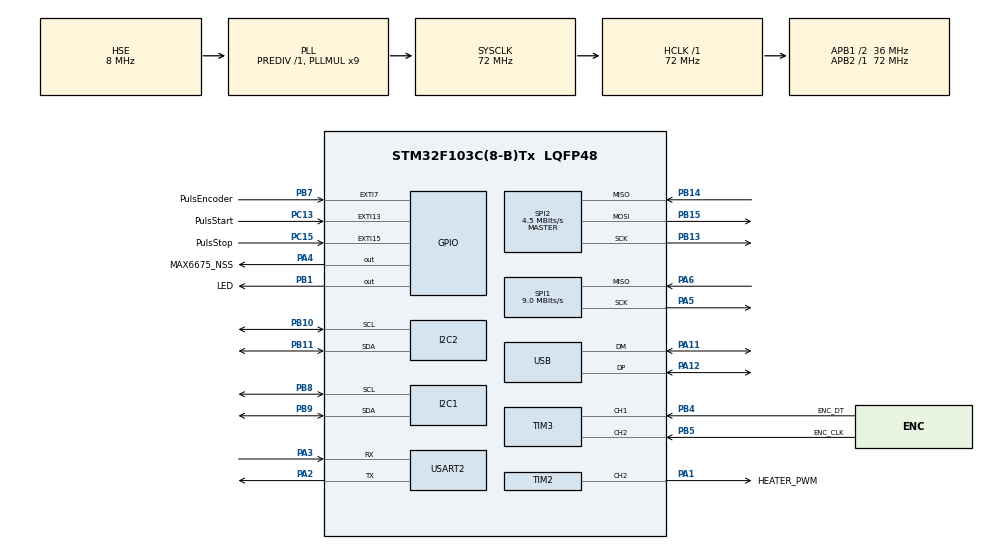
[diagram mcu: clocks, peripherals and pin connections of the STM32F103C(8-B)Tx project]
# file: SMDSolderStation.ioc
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Mcu.Family=STM32F1
PA6.Mode=RX_Only_Simplex_Unidirect_Master
USB_DEVICE.CLASS_NAME_FS=CDC
NVIC.I2C1_EV_IRQn=true\:5\:0\:false\:false\:true\:true\:true\:true
SPI1.VirtualType=VM_MASTER
Dma.I2C2_TX.0.Priority=DMA_PRIORITY_LOW
SPI2.VirtualType=VM_MASTER
PB10.Mode=I2C
TIM3.EncoderMode=TIM_ENCODERMODE_TI12
PA11.Mode=Device
NVIC.TIM1_UP_IRQn=true\:0\:0\:false\:false\:true\:false\:false\:true
TIM2.Channel-PWM\ Generation2\ CH2=TIM_CHANNEL_2
PB7.GPIO_ModeDefaultEXTI=GPIO_MODE_IT_RISING_FALLING
PB11.Signal=I2C2_SDA
PB13.Signal=SPI2_SCK
PB15.Signal=SPI2_MOSI
PC15-OSC32_OUT.GPIO_Label=PulsStop
RCC.SYSCLKSource=RCC_SYSCLKSOURCE_PLLCLK
ProjectManager.StackSize=0x8000
PD1-OSC_OUT.Signal=RCC_OSC_OUT
PA12.Signal=USB_DP
SPI1.Direction=SPI_DIRECTION_2LINES_RXONLY
RCC.HCLKFreq_Value=72000000
RCC.APB2TimFreq_Value=72000000
Dma.I2C2_TX.0.MemDataAlignment=DMA_MDATAALIGN_BYTE
SPI1.CalculateBaudRate=9.0 MBits/s
FREERTOS.configMINIMAL_STACK_SIZE=64
RCC.AHBFreq_Value=72000000
SPI2.BaudRatePrescaler=SPI_BAUDRATEPRESCALER_8
NVIC.EXTI15_10_IRQn=true\:5\:0\:false\:false\:true\:true\:true\:true
FREERTOS.configUSE_TIMERS=1
PB3.Mode=Trace_Asynchronous_SW
RCC.PLLMUL=RCC_PLL_MUL9
PC15-OSC32_OUT.GPIO_ModeDefaultEXTI=GPIO_MODE_IT_FALLING
PA14.Mode=Trace_Asynchronous_SW
PB14.Mode=Full_Duplex_Master
VP_SYS_VS_tim1.Mode=TIM1
PB1.GPIO_Label=LED
NVIC.TIM2_IRQn=true\:5\:0\:false\:false\:true\:true\:true\:true
SPI1.DataSize=SPI_DATASIZE_16BIT
SPI2.CalculateBaudRate=4.5 MBits/s
PB7.Signal=GPXTI7
NVIC.SPI2_IRQn=true\:5\:0\:false\:false\:true\:true\:true\:true
SH.S_TIM3_CH1.0=TIM3_CH1,Encoder_Interface
TIM4.Period=18000-1
VP_FREERTOS_VS_CMSIS_V1.Mode=CMSIS_V1
NVIC.I2C1_ER_IRQn=true\:5\:0\:false\:false\:true\:true\:true\:true
PB7.GPIO_Label=PulsEncoder
Mcu.Package=LQFP48
PB9.Signal=I2C1_SDA
PB1.Signal=GPIO_Output
PA6.Signal=SPI1_MISO
NVIC.TimeBase=TIM1_UP_IRQn
SPI2.Mode=SPI_MODE_MASTER
USART2.VirtualMode=VM_ASYNC
PC13-TAMPER-RTC.GPIO_PuPd=GPIO_PULLUP
NVIC.TimeBaseIP=TIM1
Dma.I2C2_TX.0.Direction=DMA_MEMORY_TO_PERIPH
TIM2.Pulse-PWM\ Generation2\ CH2=0
PB5.GPIO_Label=ENC_CLK
RCC.APB1TimFreq_Value=72000000
SPI2.Direction=SPI_DIRECTION_2LINES
PB13.Mode=Full_Duplex_Master
NVIC.DMA1_Channel4_IRQn=true\:5\:0\:false\:false\:true\:true\:false\:true
Dma.Request0=I2C2_TX
SPI1.BaudRatePrescaler=SPI_BAUDRATEPRESCALER_8
I2C2.I2C_Mode=I2C_Fast
PA4.GPIO_Label=MAX6675_NSS
PB4.Signal=S_TIM3_CH1
PA3.Signal=USART2_RX
PA5.Mode=RX_Only_Simplex_Unidirect_Master
PB7.GPIO_PuPd=GPIO_PULLUP
RCC.PLLSourceVirtual=RCC_PLLSOURCE_HSE
TIM4.AutoReloadPreload=TIM_AUTORELOAD_PRELOAD_ENABLE
Dma.I2C2_TX.0.Mode=DMA_NORMAL
FREERTOS.Tasks01=MainTask,0,256,StartMainTask,Default,NULL,Dynamic,NULL,NULL;GraphicTask,-2,256,StartGraphicTask,Default,NULL,Dynamic,NULL,NULL
PD1-OSC_OUT.Mode=HSE-External-Oscillator
TIM3.AutoReloadPreload=TIM_AUTORELOAD_PRELOAD_ENABLE
USB_DEVICE.VirtualModeFS=Cdc_FS
PC13-TAMPER-RTC.Signal=GPXTI13
RCC.USBPrescaler=RCC_USBCLKSOURCE_PLL_DIV1_5
PD0-OSC_IN.Signal=RCC_OSC_IN
Dma.I2C2_TX.0.PeriphInc=DMA_PINC_DISABLE
RCC.APB1CLKDivider=RCC_HCLK_DIV2
PA13.Signal=SYS_JTMS-SWDIO
PA3.Mode=Asynchronous
SH.S_TIM2_CH2.0=TIM2_CH2,PWM Generation2 CH2
PB11.Mode=I2C
ProjectManager.TargetToolchain=STM32CubeIDE
TIM3.IC2Filter=10
I2C1.I2C_Mode=I2C_Fast
VP_USB_DEVICE_VS_USB_DEVICE_CDC_FS.Mode=CDC_FS
PB9.Mode=I2C
RCC.USBFreq_Value=48000000
TIM4.Prescaler=1000-1
PC15-OSC32_OUT.Signal=GPXTI15
PA1.Signal=S_TIM2_CH2
PD0-OSC_IN.Mode=HSE-External-Oscillator
PB10.Signal=I2C2_SCL
PB14.Signal=SPI2_MISO
PA5.Signal=SPI1_SCK
SH.S_TIM3_CH2.0=TIM3_CH2,Encoder_Interface
TIM3.IC1Filter=10
board=custom
PC13-TAMPER-RTC.GPIO_ModeDefaultEXTI=GPIO_MODE_IT_FALLING
PC13-TAMPER-RTC.GPIO_Label=PulsStart
PB15.Mode=Full_Duplex_Master
NVIC.SPI1_IRQn=true\:5\:0\:false\:false\:true\:true\:true\:true
RCC.APB2Freq_Value=72000000
PB4.GPIO_Label=ENC_DT
VP_TIM2_VS_ClockSourceINT.Mode=Internal
SPI1.Mode=SPI_MODE_MASTER
Dma.I2C2_TX.0.Instance=DMA1_Channel4
NVIC.USB_LP_CAN1_RX0_IRQn=true\:5\:0\:false\:false\:true\:true\:false\:true
PA1.GPIO_Label=HEATER_PWM
PC15-OSC32_OUT.GPIO_PuPd=GPIO_PULLUP
FREERTOS.configUSE_MUTEXES=0
TIM2.Period=1024-1
PA13.Mode=Trace_Asynchronous_SW
Mcu.Name=STM32F103C(8-B)Tx
PA2.Signal=USART2_TX
PB3.Signal=SYS_JTDO-TRACESWO
PA4.Signal=GPIO_Output
RCC.SYSCLKFreq_VALUE=72000000
PB5.Signal=S_TIM3_CH2
PA12.Mode=Device
TIM2.OC2Preload_PWM=ENABLE
PA11.Signal=USB_DM
NVIC.EXTI9_5_IRQn=true\:5\:0\:false\:false\:true\:true\:true\:true
PA14.Signal=SYS_JTCK-SWCLK
ProjectManager.HeapSize=0x200
FREERTOS.Timers01=ReadTempTimer,ReadTempTimerCallback,osTimerPeriodic,Default,NULL,Dynamic,NULL;BlinkTimer,BlinkTimerCallback,osTimerPeriodic,As external,NULL,Dynamic,NULL;PulsEncoderTimer,PulsEncoderTimerCallback,osTimerOnce,Default,NULL,Dynamic,NULL
NVIC.I2C2_EV_IRQn=true\:5\:0\:false\:false\:true\:true\:true\:true
VP_TIM4_VS_ClockSourceINT.Mode=Internal
NVIC.PriorityGroup=NVIC_PRIORITYGROUP_4
PB8.Mode=I2C
Dma.I2C2_TX.0.PeriphDataAlignment=DMA_PDATAALIGN_BYTE
PA2.Mode=Asynchronous
PB8.Signal=I2C1_SCL
TIM2.AutoReloadPreload=TIM_AUTORELOAD_PRELOAD_ENABLE
TIM2.OCFastMode_PWM-PWM\ Generation2\ CH2=TIM_OCFAST_DISABLE
SPI2.DataSize=SPI_DATASIZE_16BIT
Dma.I2C2_TX.0.MemInc=DMA_MINC_ENABLE
NVIC.TIM4_IRQn=true\:5\:0\:false\:false\:true\:true\:true\:true
RCC.APB1Freq_Value=36000000
USB_DEVICE.VirtualMode=Cdc

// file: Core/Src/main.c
/* USER CODE BEGIN Header */
/**
  ******************************************************************************
  * @file           : main.c
  * @brief          : Main program body
  ******************************************************************************
  * @attention
  *
  * <h2><center>&copy; Copyright (c) 2021 STMicroelectronics.
  * All rights reserved.</center></h2>
  *
  * This software component is licensed by ST under Ultimate Liberty license
  * SLA0044, the "License"; You may not use this file except in compliance with
  * the License. You may obtain a copy of the License at:
  *                             www.st.com/SLA0044
  *
  ******************************************************************************
  */
/* USER CODE END Header */
#include "main.h"
#include "cmsis_os.h"
#include "usb_device.h"

/* USER CODE BEGIN Includes */
#include "usbd_cdc_if.h"
#include "stdio.h"
#include "MAX6675.h"
#include "u8g2/u8g2.h"
#include "grafica.h"
#include "stm32_pid.h"
/* USER CODE END Includes */

/* USER CODE BEGIN PD */
#define I2C_ADDRESS 0x3C
#define MAXPWMOUTPUT 1024
#define bitmap_width 64
#define bitmap_height 16
extern uint8_t u8x8_byte_stm32_hw_i2c(u8x8_t *u8x8, uint8_t msg, uint8_t arg_int, void *arg_ptr);
extern uint8_t psoc_gpio_and_delay_cb(u8x8_t *u8x8, uint8_t msg, uint8_t arg_int, void *arg_ptr);
extern u8g2_t u8g2;

/* USER CODE END PD */

I2C_HandleTypeDef hi2c1;
I2C_HandleTypeDef hi2c2;
DMA_HandleTypeDef hdma_i2c2_tx;

SPI_HandleTypeDef hspi1;
SPI_HandleTypeDef hspi2;

TIM_HandleTypeDef htim2;
TIM_HandleTypeDef htim3;
TIM_HandleTypeDef htim4;

UART_HandleTypeDef huart2;

osThreadId MainTaskHandle;
osThreadId GraphicTaskHandle;
osTimerId ReadTempTimerHandle;
osTimerId BlinkTimerHandle;
osTimerId PulsEncoderTimerHandle;
/* USER CODE BEGIN PV */
uint8_t updateVisu;
int32_t tempEncCount = -1;
uint8_t tempHeigth = 0;
float tempActTemperature = -1;
LPFilter TempFilter;
float FilteredTemperature;
PID TempPID;
VisualInterface GraphicVar;
PID_AutoTune TempAutoTuneVar;
char logBuf[128];
_Bool EnablePWMOut;
_Bool StartTuning;
/* USER CODE END PV */

void SystemClock_Config(void);
static void MX_GPIO_Init(void);
static void MX_DMA_Init(void);
static void MX_SPI1_Init(void);
static void MX_I2C1_Init(void);
static void MX_USART2_UART_Init(void);
static void MX_TIM2_Init(void);
static void MX_I2C2_Init(void);
static void MX_TIM3_Init(void);
static void MX_SPI2_Init(void);
static void MX_TIM4_Init(void);
void StartMainTask(void const * argument);
void StartGraphicTask(void const * argument);
void ReadTempTimerCallback(void const * argument);
extern void BlinkTimerCallback(void const * argument);
void PulsEncoderTimerCallback(void const * argument);

/* USER CODE BEGIN 0 */
int _write(int file, char *ptr, int len)
{
  /* Implement your write code here, this is used by puts and printf for example */
  int i=0;
  for(i=0 ; i<len ; i++)
    ITM_SendChar((*ptr++));
  return len;
}
/* USER CODE END 0 */

int main(void)
{

  /* MCU Configuration--------------------------------------------------------*/

  /* Reset of all peripherals, Initializes the Flash interface and the Systick. */
  HAL_Init();

  /* Configure the system clock */
  SystemClock_Config();

  /* Initialize all configured peripherals */
  MX_GPIO_Init();
  MX_DMA_Init();
  MX_SPI1_Init();
  MX_I2C1_Init();
  MX_USART2_UART_Init();
  MX_TIM2_Init();
  MX_I2C2_Init();
  MX_TIM3_Init();
  MX_SPI2_Init();
  MX_TIM4_Init();
  /* USER CODE BEGIN 2 */

  //*********************************
  //******** TIMER STARTING *********
  //*********************************
  HAL_TIM_Base_Start(&htim2);
  HAL_TIM_PWM_Start(&htim2, TIM_CHANNEL_2);
  HAL_TIM_Encoder_Start(&htim3, TIM_CHANNEL_ALL);
  HAL_TIM_Base_Start_IT(&htim4);
  __HAL_TIM_SET_COUNTER(&htim3, STARTTEMPERATURE);

  //*********************************
  //**** DISPLAY INITIALIZATION *****
  //*********************************
  u8g2_Setup_ssd1306_i2c_128x64_noname_f(&u8g2,
 	  U8G2_R0,
 	  u8x8_byte_stm32_hw_i2c,
 	  psoc_gpio_and_delay_cb);
  u8g2_InitDisplay(&u8g2);
  u8g2_SetPowerSave(&u8g2, 0);
  u8g2_ClearDisplay(&u8g2);
  u8g2_SetFont(&u8g2, u8g2_font_helvR14_tf);
  u8g2_SetFontPosTop(&u8g2);

  //*********************************
  //***** PID INITIALIZATION ********
  //*********************************
  LPFilterInit(&TempFilter);
  PIDInit(&TempPID, TEMPERATURE_SAMPLE_TIME, MAXPWMOUTPUT, 0, 180, 8, 956, MAXPWMOUTPUT/2, -(MAXPWMOUTPUT/2), DERIVATIVE_TIME_CONSTANT);
  PIDNewSetpoint(&TempPID, STARTTEMPERATURE);
  PID_AutoTuneInit(&TempAutoTuneVar, STARTTEMPERATURE, 0.5, TEMPERATURE_SAMPLE_TIME, 20, 0, 1024);

  /* USER CODE END 2 */

  /* Create the timer(s) */
  /* definition and creation of ReadTempTimer */
  osTimerDef(ReadTempTimer, ReadTempTimerCallback);
  ReadTempTimerHandle = osTimerCreate(osTimer(ReadTempTimer), osTimerPeriodic, NULL);

  /* definition and creation of BlinkTimer */
  osTimerDef(BlinkTimer, BlinkTimerCallback);
  BlinkTimerHandle = osTimerCreate(osTimer(BlinkTimer), osTimerPeriodic, NULL);

  /* definition and creation of PulsEncoderTimer */
  osTimerDef(PulsEncoderTimer, PulsEncoderTimerCallback);
  PulsEncoderTimerHandle = osTimerCreate(osTimer(PulsEncoderTimer), osTimerOnce, NULL);

  /* USER CODE BEGIN RTOS_TIMERS */
  /* start timers, add new ones, ... */
  osTimerStart(ReadTempTimerHandle, MAX6675_READ_DELAY_MS/portTICK_PERIOD_MS);
  osTimerStart(BlinkTimerHandle, BLINK_DELAY_MS/portTICK_PERIOD_MS);

  /* USER CODE END RTOS_TIMERS */

  /* Create the thread(s) */
  /* definition and creation of MainTask */
  osThreadDef(MainTask, StartMainTask, osPriorityNormal, 0, 256);
  MainTaskHandle = osThreadCreate(osThread(MainTask), NULL);

  /* definition and creation of GraphicTask */
  osThreadDef(GraphicTask, StartGraphicTask, osPriorityLow, 0, 256);
  GraphicTaskHandle = osThreadCreate(osThread(GraphicTask), NULL);

  /* Start scheduler */
  osKernelStart();

  /* We should never get here as control is now taken by the scheduler */
  /* Infinite loop */
  while (1)
  {

  }
}

void SystemClock_Config(void)
{
  RCC_OscInitTypeDef RCC_OscInitStruct = {0};
  RCC_ClkInitTypeDef RCC_ClkInitStruct = {0};
  RCC_PeriphCLKInitTypeDef PeriphClkInit = {0};

  /** Initializes the RCC Oscillators according to the specified parameters
  * in the RCC_OscInitTypeDef structure.
  */
  RCC_OscInitStruct.OscillatorType = RCC_OSCILLATORTYPE_HSE;
  RCC_OscInitStruct.HSEState = RCC_HSE_ON;
  RCC_OscInitStruct.HSEPredivValue = RCC_HSE_PREDIV_DIV1;
  RCC_OscInitStruct.HSIState = RCC_HSI_ON;
  RCC_OscInitStruct.PLL.PLLState = RCC_PLL_ON;
  RCC_OscInitStruct.PLL.PLLSource = RCC_PLLSOURCE_HSE;
  RCC_OscInitStruct.PLL.PLLMUL = RCC_PLL_MUL9;
  if (HAL_RCC_OscConfig(&RCC_OscInitStruct) != HAL_OK)
  {
    Error_Handler();
  }
  /** Initializes the CPU, AHB and APB buses clocks
  */
  RCC_ClkInitStruct.ClockType = RCC_CLOCKTYPE_HCLK|RCC_CLOCKTYPE_SYSCLK
                              |RCC_CLOCKTYPE_PCLK1|RCC_CLOCKTYPE_PCLK2;
  RCC_ClkInitStruct.SYSCLKSource = RCC_SYSCLKSOURCE_PLLCLK;
  RCC_ClkInitStruct.AHBCLKDivider = RCC_SYSCLK_DIV1;
  RCC_ClkInitStruct.APB1CLKDivider = RCC_HCLK_DIV2;
  RCC_ClkInitStruct.APB2CLKDivider = RCC_HCLK_DIV1;

  if (HAL_RCC_ClockConfig(&RCC_ClkInitStruct, FLASH_LATENCY_2) != HAL_OK)
  {
    Error_Handler();
  }
  PeriphClkInit.PeriphClockSelection = RCC_PERIPHCLK_USB;
  PeriphClkInit.UsbClockSelection = RCC_USBCLKSOURCE_PLL_DIV1_5;
  if (HAL_RCCEx_PeriphCLKConfig(&PeriphClkInit) != HAL_OK)
  {
    Error_Handler();
  }
}

static void MX_I2C1_Init(void)
{

  hi2c1.Instance = I2C1;
  hi2c1.Init.ClockSpeed = 400000;
  hi2c1.Init.DutyCycle = I2C_DUTYCYCLE_2;
  hi2c1.Init.OwnAddress1 = 0;
  hi2c1.Init.AddressingMode = I2C_ADDRESSINGMODE_7BIT;
  hi2c1.Init.DualAddressMode = I2C_DUALADDRESS_DISABLE;
  hi2c1.Init.OwnAddress2 = 0;
  hi2c1.Init.GeneralCallMode = I2C_GENERALCALL_DISABLE;
  hi2c1.Init.NoStretchMode = I2C_NOSTRETCH_DISABLE;
  if (HAL_I2C_Init(&hi2c1) != HAL_OK)
  {
    Error_Handler();
  }

}

static void MX_I2C2_Init(void)
{

  hi2c2.Instance = I2C2;
  hi2c2.Init.ClockSpeed = 400000;
  hi2c2.Init.DutyCycle = I2C_DUTYCYCLE_2;
  hi2c2.Init.OwnAddress1 = 0;
  hi2c2.Init.AddressingMode = I2C_ADDRESSINGMODE_7BIT;
  hi2c2.Init.DualAddressMode = I2C_DUALADDRESS_DISABLE;
  hi2c2.Init.OwnAddress2 = 0;
  hi2c2.Init.GeneralCallMode = I2C_GENERALCALL_DISABLE;
  hi2c2.Init.NoStretchMode = I2C_NOSTRETCH_DISABLE;
  if (HAL_I2C_Init(&hi2c2) != HAL_OK)
  {
    Error_Handler();
  }

}

static void MX_SPI1_Init(void)
{

  /* SPI1 parameter configuration*/
  hspi1.Instance = SPI1;
  hspi1.Init.Mode = SPI_MODE_MASTER;
  hspi1.Init.Direction = SPI_DIRECTION_2LINES_RXONLY;
  hspi1.Init.DataSize = SPI_DATASIZE_16BIT;
  hspi1.Init.CLKPolarity = SPI_POLARITY_LOW;
  hspi1.Init.CLKPhase = SPI_PHASE_1EDGE;
  hspi1.Init.NSS = SPI_NSS_SOFT;
  hspi1.Init.BaudRatePrescaler = SPI_BAUDRATEPRESCALER_8;
  hspi1.Init.FirstBit = SPI_FIRSTBIT_MSB;
  hspi1.Init.TIMode = SPI_TIMODE_DISABLE;
  hspi1.Init.CRCCalculation = SPI_CRCCALCULATION_DISABLE;
  hspi1.Init.CRCPolynomial = 10;
  if (HAL_SPI_Init(&hspi1) != HAL_OK)
  {
    Error_Handler();
  }

}

static void MX_SPI2_Init(void)
{

  /* SPI2 parameter configuration*/
  hspi2.Instance = SPI2;
  hspi2.Init.Mode = SPI_MODE_MASTER;
  hspi2.Init.Direction = SPI_DIRECTION_2LINES;
  hspi2.Init.DataSize = SPI_DATASIZE_16BIT;
  hspi2.Init.CLKPolarity = SPI_POLARITY_LOW;
  hspi2.Init.CLKPhase = SPI_PHASE_1EDGE;
  hspi2.Init.NSS = SPI_NSS_SOFT;
  hspi2.Init.BaudRatePrescaler = SPI_BAUDRATEPRESCALER_8;
  hspi2.Init.FirstBit = SPI_FIRSTBIT_MSB;
  hspi2.Init.TIMode = SPI_TIMODE_DISABLE;
  hspi2.Init.CRCCalculation = SPI_CRCCALCULATION_DISABLE;
  hspi2.Init.CRCPolynomial = 10;
  if (HAL_SPI_Init(&hspi2) != HAL_OK)
  {
    Error_Handler();
  }

}

static void MX_TIM2_Init(void)
{

  TIM_ClockConfigTypeDef sClockSourceConfig = {0};
  TIM_MasterConfigTypeDef sMasterConfig = {0};
  TIM_OC_InitTypeDef sConfigOC = {0};

  htim2.Instance = TIM2;
  htim2.Init.Prescaler = 0;
  htim2.Init.CounterMode = TIM_COUNTERMODE_UP;
  htim2.Init.Period = 1024-1;
  htim2.Init.ClockDivision = TIM_CLOCKDIVISION_DIV1;
  htim2.Init.AutoReloadPreload = TIM_AUTORELOAD_PRELOAD_ENABLE;
  if (HAL_TIM_Base_Init(&htim2) != HAL_OK)
  {
    Error_Handler();
  }
  sClockSourceConfig.ClockSource = TIM_CLOCKSOURCE_INTERNAL;
  if (HAL_TIM_ConfigClockSource(&htim2, &sClockSourceConfig) != HAL_OK)
  {
    Error_Handler();
  }
  if (HAL_TIM_PWM_Init(&htim2) != HAL_OK)
  {
    Error_Handler();
  }
  sMasterConfig.MasterOutputTrigger = TIM_TRGO_RESET;
  sMasterConfig.MasterSlaveMode = TIM_MASTERSLAVEMODE_DISABLE;
  if (HAL_TIMEx_MasterConfigSynchronization(&htim2, &sMasterConfig) != HAL_OK)
  {
    Error_Handler();
  }
  sConfigOC.OCMode = TIM_OCMODE_PWM1;
  sConfigOC.Pulse = 0;
  sConfigOC.OCPolarity = TIM_OCPOLARITY_HIGH;
  sConfigOC.OCFastMode = TIM_OCFAST_DISABLE;
  if (HAL_TIM_PWM_ConfigChannel(&htim2, &sConfigOC, TIM_CHANNEL_2) != HAL_OK)
  {
    Error_Handler();
  }
  HAL_TIM_MspPostInit(&htim2);

}

static void MX_TIM3_Init(void)
{

  TIM_Encoder_InitTypeDef sConfig = {0};
  TIM_MasterConfigTypeDef sMasterConfig = {0};

  htim3.Instance = TIM3;
  htim3.Init.Prescaler = 0;
  htim3.Init.CounterMode = TIM_COUNTERMODE_UP;
  htim3.Init.Period = 65535;
  htim3.Init.ClockDivision = TIM_CLOCKDIVISION_DIV1;
  htim3.Init.AutoReloadPreload = TIM_AUTORELOAD_PRELOAD_ENABLE;
  sConfig.EncoderMode = TIM_ENCODERMODE_TI12;
  sConfig.IC1Polarity = TIM_ICPOLARITY_RISING;
  sConfig.IC1Selection = TIM_ICSELECTION_DIRECTTI;
  sConfig.IC1Prescaler = TIM_ICPSC_DIV1;
  sConfig.IC1Filter = 10;
  sConfig.IC2Polarity = TIM_ICPOLARITY_RISING;
  sConfig.IC2Selection = TIM_ICSELECTION_DIRECTTI;
  sConfig.IC2Prescaler = TIM_ICPSC_DIV1;
  sConfig.IC2Filter = 10;
  if (HAL_TIM_Encoder_Init(&htim3, &sConfig) != HAL_OK)
  {
    Error_Handler();
  }
  sMasterConfig.MasterOutputTrigger = TIM_TRGO_RESET;
  sMasterConfig.MasterSlaveMode = TIM_MASTERSLAVEMODE_DISABLE;
  if (HAL_TIMEx_MasterConfigSynchronization(&htim3, &sMasterConfig) != HAL_OK)
  {
    Error_Handler();
  }

}

static void MX_TIM4_Init(void)
{

  TIM_ClockConfigTypeDef sClockSourceConfig = {0};
  TIM_MasterConfigTypeDef sMasterConfig = {0};

  htim4.Instance = TIM4;
  htim4.Init.Prescaler = 1000-1;
  htim4.Init.CounterMode = TIM_COUNTERMODE_UP;
  htim4.Init.Period = 18000-1;
  htim4.Init.ClockDivision = TIM_CLOCKDIVISION_DIV1;
  htim4.Init.AutoReloadPreload = TIM_AUTORELOAD_PRELOAD_ENABLE;
  if (HAL_TIM_Base_Init(&htim4) != HAL_OK)
  {
    Error_Handler();
  }
  sClockSourceConfig.ClockSource = TIM_CLOCKSOURCE_INTERNAL;
  if (HAL_TIM_ConfigClockSource(&htim4, &sClockSourceConfig) != HAL_OK)
  {
    Error_Handler();
  }
  sMasterConfig.MasterOutputTrigger = TIM_TRGO_RESET;
  sMasterConfig.MasterSlaveMode = TIM_MASTERSLAVEMODE_DISABLE;
  if (HAL_TIMEx_MasterConfigSynchronization(&htim4, &sMasterConfig) != HAL_OK)
  {
    Error_Handler();
  }

}

static void MX_USART2_UART_Init(void)
{

  huart2.Instance = USART2;
  huart2.Init.BaudRate = 115200;
  huart2.Init.WordLength = UART_WORDLENGTH_8B;
  huart2.Init.StopBits = UART_STOPBITS_1;
  huart2.Init.Parity = UART_PARITY_NONE;
  huart2.Init.Mode = UART_MODE_TX_RX;
  huart2.Init.HwFlowCtl = UART_HWCONTROL_NONE;
  huart2.Init.OverSampling = UART_OVERSAMPLING_16;
  if (HAL_UART_Init(&huart2) != HAL_OK)
  {
    Error_Handler();
  }

}

static void MX_DMA_Init(void)
{

  /* DMA controller clock enable */
  __HAL_RCC_DMA1_CLK_ENABLE();

  /* DMA interrupt init */
  /* DMA1_Channel4_IRQn interrupt configuration */
  HAL_NVIC_SetPriority(DMA1_Channel4_IRQn, 5, 0);
  HAL_NVIC_EnableIRQ(DMA1_Channel4_IRQn);

}

static void MX_GPIO_Init(void)
{
  GPIO_InitTypeDef GPIO_InitStruct = {0};

  /* GPIO Ports Clock Enable */
  __HAL_RCC_GPIOC_CLK_ENABLE();
  __HAL_RCC_GPIOD_CLK_ENABLE();
  __HAL_RCC_GPIOA_CLK_ENABLE();
  __HAL_RCC_GPIOB_CLK_ENABLE();

  /*Configure GPIO pin Output Level */
  HAL_GPIO_WritePin(MAX6675_NSS_GPIO_Port, MAX6675_NSS_Pin, GPIO_PIN_RESET);

  /*Configure GPIO pin Output Level */
  HAL_GPIO_WritePin(LED_GPIO_Port, LED_Pin, GPIO_PIN_RESET);

  /*Configure GPIO pins : PulsStart_Pin PulsStop_Pin */
  GPIO_InitStruct.Pin = PulsStart_Pin|PulsStop_Pin;
  GPIO_InitStruct.Mode = GPIO_MODE_IT_FALLING;
  GPIO_InitStruct.Pull = GPIO_PULLUP;
  HAL_GPIO_Init(GPIOC, &GPIO_InitStruct);

  /*Configure GPIO pin : MAX6675_NSS_Pin */
  GPIO_InitStruct.Pin = MAX6675_NSS_Pin;
  GPIO_InitStruct.Mode = GPIO_MODE_OUTPUT_PP;
  GPIO_InitStruct.Pull = GPIO_NOPULL;
  GPIO_InitStruct.Speed = GPIO_SPEED_FREQ_LOW;
  HAL_GPIO_Init(MAX6675_NSS_GPIO_Port, &GPIO_InitStruct);

  /*Configure GPIO pin : LED_Pin */
  GPIO_InitStruct.Pin = LED_Pin;
  GPIO_InitStruct.Mode = GPIO_MODE_OUTPUT_PP;
  GPIO_InitStruct.Pull = GPIO_NOPULL;
  GPIO_InitStruct.Speed = GPIO_SPEED_FREQ_LOW;
  HAL_GPIO_Init(LED_GPIO_Port, &GPIO_InitStruct);

  /*Configure GPIO pin : PulsEncoder_Pin */
  GPIO_InitStruct.Pin = PulsEncoder_Pin;
  GPIO_InitStruct.Mode = GPIO_MODE_IT_RISING_FALLING;
  GPIO_InitStruct.Pull = GPIO_PULLUP;
  HAL_GPIO_Init(PulsEncoder_GPIO_Port, &GPIO_InitStruct);

  /* EXTI interrupt init*/
  HAL_NVIC_SetPriority(EXTI9_5_IRQn, 5, 0);
  HAL_NVIC_EnableIRQ(EXTI9_5_IRQn);

  HAL_NVIC_SetPriority(EXTI15_10_IRQn, 5, 0);
  HAL_NVIC_EnableIRQ(EXTI15_10_IRQn);

}

/* USER CODE BEGIN 4 */
void HAL_GPIO_EXTI_Callback(uint16_t GPIO_Pin)
{
	if(GPIO_Pin == PulsStart_Pin)
	{
		if (GraphicVar._ActualPage == PageMain)
		{
			EnablePWMOut = true;
		}
		else if (GraphicVar._ActualPage == PageTuning)
		{
			StartTuning = true;
		}
	}
	else if (GPIO_Pin == PulsStop_Pin)
	{
		if (GraphicVar._ActualPage == PageMain)
		{
			EnablePWMOut = false;
		}
		else if (GraphicVar._ActualPage == PageTuning)
		{
			StartTuning = false;
		}
	}

	if(GPIO_Pin == PulsEncoder_Pin && HAL_GPIO_ReadPin(PulsEncoder_GPIO_Port, PulsEncoder_Pin) == GPIO_PIN_RESET)
	{
		GraphicVar._PulsEncoderPressed = true;
		GraphicVar._PulsEncoderReleased = false;
		osTimerStart(PulsEncoderTimerHandle, PULS_HOLDED_TIME_MS/portTICK_PERIOD_MS);
	}
	if(GPIO_Pin == PulsEncoder_Pin && HAL_GPIO_ReadPin(PulsEncoder_GPIO_Port, PulsEncoder_Pin) == GPIO_PIN_SET)
	{
		osTimerStop(PulsEncoderTimerHandle);
		GraphicVar._PulsEncoderPressed = false;
		GraphicVar._PulsEncoderReleased = true;
		GraphicVar._PulsEncoderHolded = false;
	}
}
/* USER CODE END 4 */

void StartMainTask(void const * argument)
{
  /* init code for USB_DEVICE */
  MX_USB_DEVICE_Init();
  /* USER CODE BEGIN 5 */
  /* Infinite loop */
  for(;;)
  {
	  if (GraphicVar._ActualPage == PageMain)
	  {
		  if (EnablePWMOut && TempFilter.FilterOK)
		  {
		  	  GraphicVar._ActualHeatState = Heating;
		  	  TIM2->CCR2 = PIDUpdate(&TempPID, FilteredTemperature);
		  }
		  else
		  {
		  	  GraphicVar._ActualHeatState = HeatOFF;
		  	  TIM2->CCR2 = 0;
		  }
		   sprintf((uint8_t *) logBuf, "PID_P: %.1f, PID_I: %.1f, PID_D: %.1f\r\n",
		   					  TempPID.PID_P, TempPID.PID_I, TempPID.PID_D);
		  CDC_Transmit_FS((uint8_t *) logBuf, strlen(logBuf));

		  osDelay(1000/PID_LOOP_FREQUENCY_HZ);
	  }
	  else if (GraphicVar._ActualPage == PageTuning)
	  {
		  if (StartTuning)
		  {
			  int8_t TuningStatus = PID_AutoTuneUpdate(&TempAutoTuneVar, &FilteredTemperature, &TIM2->CCR2);
			  if (TuningStatus == 1)
			  {
				  PID_AutoTuneCompute(&TempAutoTuneVar);
				  PID_AutoTuneGetCoeff(&TempAutoTuneVar, &TempPID);
				  PIDNewCoeff(&TempPID, TempAutoTuneVar.Kp_Tuned, TempAutoTuneVar.Ki_Tuned, TempAutoTuneVar.Kp_Tuned);
				  StartTuning = false;
			  }
		  }
		  else
		  {
			  PID_AutoTuneStop(&TempAutoTuneVar);
			  TIM2->CCR2 = 0;
		  }
		  osDelay(1);
	  }
  }
  /* USER CODE END 5 */
}

void StartGraphicTask(void const * argument)
{
  /* USER CODE BEGIN StartGraphicTask */
  /* Infinite loop */
  for(;;)
  {
	  // Lettura valore encoder rotativo
	  EncoderRead(&GraphicVar, &htim3);
	  printf("Signed encoder actual value: %d\r", GraphicVar.SignedEncActValue);

	  // Aggiornamento OLED
	  Graphic(&GraphicVar, &TempFilter, &TempPID, &TempAutoTuneVar);

	  osDelay(20);
  }
  /* USER CODE END StartGraphicTask */
}

/* ReadTempTimerCallback function */
void ReadTempTimerCallback(void const * argument)
{
  /* USER CODE BEGIN ReadTempTimerCallback */
	Max6675_Read_TempValue(&ActTemperature);
	FilteredTemperature = LPFilterUpdate(&TempFilter, ActTemperature);
	/*
	// Graph 1
	sprintf((uint8_t *) logBuf, "Setpoint: %.1f, Actual Temp: %.1f, Actual PWM: %d\r\n",
				  TempPID.Setpoint, FilteredTemperature, TIM2->CCR2);
	CDC_Transmit_FS((uint8_t *) logBuf, strlen(logBuf));
	*/
	/*
	// Graph 2
	sprintf((uint8_t *) logBuf, "PID_P: %.1f, PID_I: %.1f, PID_D: %.1f\r\n",
					  TempPID.PID_P, TempPID.PID_I, TempPID.PID_D);
	CDC_Transmit_FS((uint8_t *) logBuf, strlen(logBuf));
	*/
	/*
	// Graph 3
	sprintf((uint8_t *) logBuf, "Actual Temp: %.1f, Actual PWM: %d, PID_D: %.1f\r\n",
					  FilteredTemperature, TIM2->CCR2, TempPID.PID_D);
	CDC_Transmit_FS((uint8_t *) logBuf, strlen(logBuf));
	 */
  /* USER CODE END ReadTempTimerCallback */
}

/* PulsEncoderTimerCallback function */
void PulsEncoderTimerCallback(void const * argument)
{
  /* USER CODE BEGIN PulsEncoderTimerCallback */
	if (GraphicVar._ActualPage == PageMain)
	{
		GraphicVar._ActualPage = PageTuning;
	}
	else if (GraphicVar._ActualPage == PageTuning)
	{
		GraphicVar._ActualPage = PageMain;
	}

	GraphicVar._PulsEncoderHolded = true;
  /* USER CODE END PulsEncoderTimerCallback */
}

 /**
  * @brief  Period elapsed callback in non blocking mode
  * @note   This function is called  when TIM1 interrupt took place, inside
  * HAL_TIM_IRQHandler(). It makes a direct call to HAL_IncTick() to increment
  * a global variable "uwTick" used as application time base.
  * @param  htim : TIM handle
  * @retval None
  */
void HAL_TIM_PeriodElapsedCallback(TIM_HandleTypeDef *htim)
{
  if (htim->Instance == TIM1) {
    HAL_IncTick();
  }
}

void Error_Handler(void)
{
  __disable_irq();
  while (1)
  {
  }
}

/************************ (C) COPYRIGHT STMicroelectronics *****END OF FILE****/
